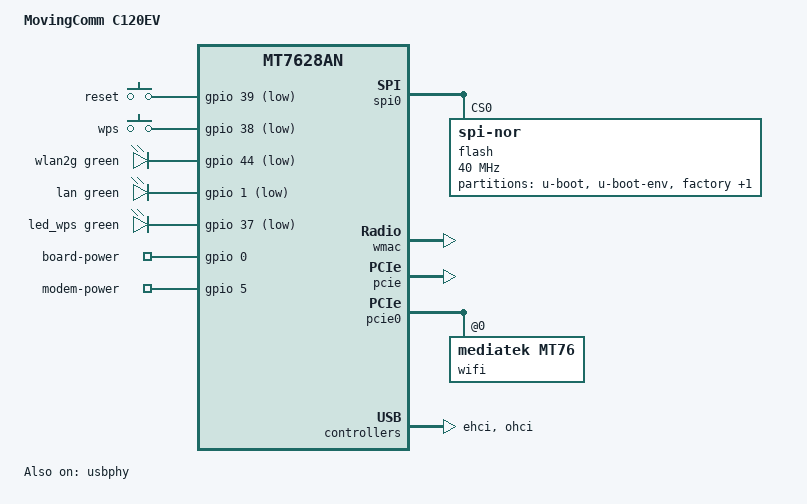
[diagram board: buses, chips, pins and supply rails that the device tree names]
// SPDX-License-Identifier: GPL-2.0-or-later OR MIT
/dts-v1/;

#include "mt7628an.dtsi"
#include <dt-bindings/gpio/gpio.h>
#include <dt-bindings/input/input.h>
#include <dt-bindings/leds/common.h>

/ {
	compatible = "movingcomm,c120ev", "mediatek,mt7628an-soc";
	model = "MovingComm C120EV";

	aliases {
		led-boot = &led_wps;
		led-failsafe = &led_wps;
		led-running = &led_wps;
		led-upgrade = &led_wps;
		label-mac-device = &ethernet;
	};

	keys {
		compatible = "gpio-keys";

		reset {
			label = "reset";
			gpios = <&gpio 39 GPIO_ACTIVE_LOW>;
			linux,code = <KEY_RESTART>;
		};

		wps {
			label = "wps";
			gpios = <&gpio 38 GPIO_ACTIVE_LOW>;
			linux,code = <KEY_WPS_BUTTON>;
		};
	};

	leds {
		compatible = "gpio-leds";

		wlan2g {
			color = <LED_COLOR_ID_GREEN>;
			function = LED_FUNCTION_WLAN;
			gpios = <&gpio 44 GPIO_ACTIVE_LOW>;
			linux,default-trigger = "phy0tpt";
		};

		lan {
			color = <LED_COLOR_ID_GREEN>;
			function = LED_FUNCTION_LAN;
			gpios = <&gpio 1 GPIO_ACTIVE_LOW>;
			linux,default-trigger = "netdev";
		};

		led_wps: wps {
			color = <LED_COLOR_ID_GREEN>;
			function = LED_FUNCTION_WPS;
			gpios = <&gpio 37 GPIO_ACTIVE_LOW>;
		};
	};

	gpio_export {
		compatible = "gpio-export";

		board_power {
			gpio-export,name = "board-power";
			gpio-export,output = <1>;
			gpios = <&gpio 0 GPIO_ACTIVE_HIGH>;
		};

		modem_power {
			gpio-export,name = "modem-power";
			gpio-export,output = <0>;
			gpios = <&gpio 5 GPIO_ACTIVE_HIGH>;
		};
	};
};

&state_default {
	gpio {
		groups = "i2c", "spis", "gpio", "refclk", "wled_an", "wdt";
		function = "gpio";
	};
};

&spi0 {
	status = "okay";

	flash@0 {
		compatible = "jedec,spi-nor";
		reg = <0>;
		spi-max-frequency = <40000000>;
		m25p,fast-read;

		partitions {
			compatible = "fixed-partitions";
			#address-cells = <1>;
			#size-cells = <1>;

			partition@0 {
				label = "u-boot";
				reg = <0x0 0x30000>;
				read-only;
			};

			partition@30000 {
				label = "u-boot-env";
				reg = <0x30000 0x10000>;
				read-only;
			};

			partition@40000 {
				label = "factory";
				reg = <0x40000 0x10000>;
				read-only;

				nvmem-layout {
					compatible = "fixed-layout";
					#address-cells = <1>;
					#size-cells = <1>;

					eeprom_factory_0: eeprom@0 {
						reg = <0x0 0x400>;
					};

					eeprom_factory_8000: eeprom@8000 {
						reg = <0x8000 0x4da8>;
					};

					macaddr_factory_4: macaddr@4 {
						reg = <0x4 0x6>;
					};

					macaddr_factory_28: macaddr@28 {
						reg = <0x28 0x6>;
					};

					macaddr_factory_2e: macaddr@2e {
						reg = <0x2e 0x6>;
					};

					macaddr_factory_8004: macaddr@8004 {
						reg = <0x8004 0x6>;
					};
				};
			};

			partition@50000 {
				compatible = "denx,uimage";
				label = "firmware";
				reg = <0x50000 0xfb0000>;
			};
		};
	};
};

&esw {
	mediatek,portmap = <0x3e>;
};

&ethernet {
	nvmem-cells = <&macaddr_factory_4>;
	nvmem-cell-names = "mac-address";
};

&wmac {
	status = "okay";
	nvmem-cells = <&eeprom_factory_0>, <&macaddr_factory_2e>;
	nvmem-cell-names = "eeprom", "mac-address";
};

&pcie {
	status = "okay";
};

&pcie0 {
	wifi@0,0 {
		compatible = "mediatek,mt76";
		reg = <0x0000 0 0 0 0>;
		nvmem-cells = <&eeprom_factory_8000>, <&macaddr_factory_8004>;
		nvmem-cell-names = "eeprom", "mac-address";
		ieee80211-freq-limit = <5000000 6000000>;
	};
};

&usbphy {
	status = "okay";
};

&ehci {
	status = "okay";
};

&ohci {
	status = "okay";
};
